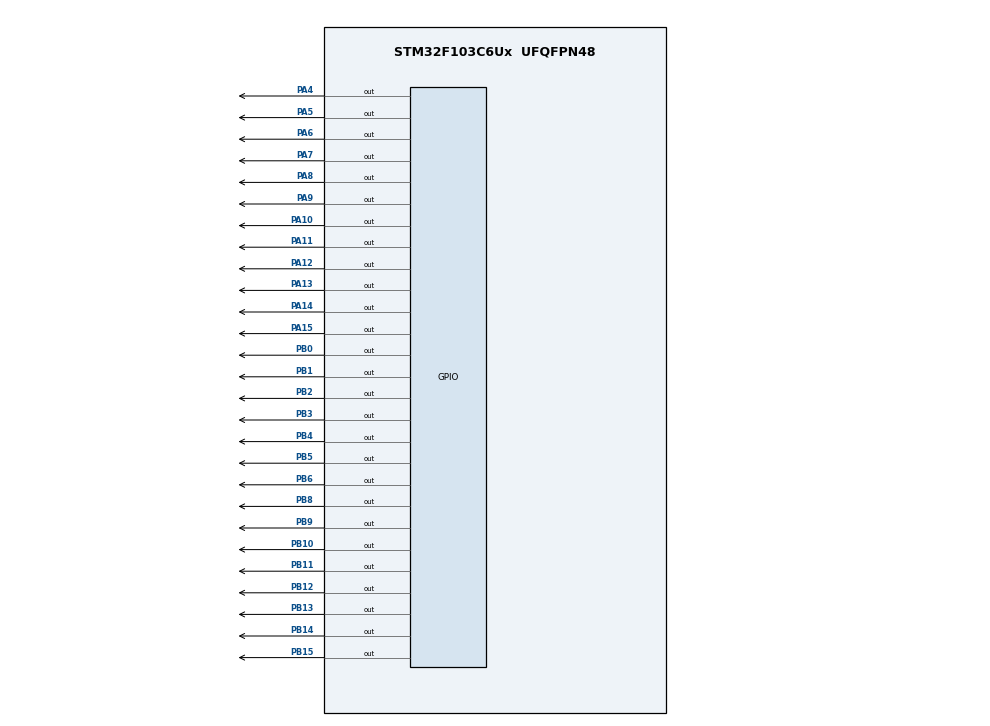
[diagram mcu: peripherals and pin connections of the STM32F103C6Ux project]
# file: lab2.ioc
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Mcu.Family=STM32F1
Mcu.Name=STM32F103C6Ux
Mcu.Package=UFQFPN48
NVIC.PriorityGroup=NVIC_PRIORITYGROUP_4
NVIC.TIM2_IRQn=true\:0\:0\:false\:false\:true\:true\:true
PA10.Signal=GPIO_Output
PA11.Signal=GPIO_Output
PA12.Signal=GPIO_Output
PA13.Signal=GPIO_Output
PA14.Signal=GPIO_Output
PA15.Signal=GPIO_Output
PA4.Signal=GPIO_Output
PA5.Signal=GPIO_Output
PA6.Signal=GPIO_Output
PA7.Signal=GPIO_Output
PA8.Signal=GPIO_Output
PA9.Signal=GPIO_Output
PB0.Signal=GPIO_Output
PB1.Signal=GPIO_Output
PB10.Signal=GPIO_Output
PB11.Signal=GPIO_Output
PB12.Signal=GPIO_Output
PB13.Signal=GPIO_Output
PB14.Signal=GPIO_Output
PB15.Signal=GPIO_Output
PB2.Signal=GPIO_Output
PB3.Signal=GPIO_Output
PB4.Signal=GPIO_Output
PB5.Signal=GPIO_Output
PB6.Signal=GPIO_Output
PB8.Signal=GPIO_Output
PB9.Signal=GPIO_Output
ProjectManager.HeapSize=0x200
ProjectManager.StackSize=0x400
ProjectManager.TargetToolchain=STM32CubeIDE
RCC.APB1Freq_Value=8000000
RCC.APB2Freq_Value=8000000
TIM2.Period=2
TIM2.Prescaler=7999
VP_SYS_VS_ND.Mode=No_Debug
VP_TIM2_VS_ClockSourceINT.Mode=Internal
board=custom

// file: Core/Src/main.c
/* USER CODE BEGIN Header */
/**
  ******************************************************************************
  * @file           : main.c
  * @brief          : Main program body
  ******************************************************************************
  * @attention
  *
  * <h2><center>&copy; Copyright (c) 2022 STMicroelectronics.
  * All rights reserved.</center></h2>
  *
  * This software component is licensed by ST under BSD 3-Clause license,
  * the "License"; You may not use this file except in compliance with the
  * License. You may obtain a copy of the License at:
  *                        opensource.org/licenses/BSD-3-Clause
  *
  ******************************************************************************
  */
/* USER CODE END Header */
#include "main.h"

/* USER CODE BEGIN Includes */
#include "software_timer.h"

/* USER CODE END Includes */

TIM_HandleTypeDef htim2;

void SystemClock_Config(void);
static void MX_GPIO_Init(void);
static void MX_TIM2_Init(void);

/* USER CODE BEGIN 0 */
void updateLEDMatrix(int index);
int tmp = 0;

/* USER CODE END 0 */

int main(void)
{

  /* MCU Configuration--------------------------------------------------------*/

  /* Reset of all peripherals, Initializes the Flash interface and the Systick. */
  HAL_Init();

  /* Configure the system clock */
  SystemClock_Config();

  /* Initialize all configured peripherals */
  MX_GPIO_Init();
  MX_TIM2_Init();
  /* USER CODE BEGIN 2 */
  HAL_TIM_Base_Start_IT(&htim2);
  /* USER CODE END 2 */

  /* Infinite loop */
  /* USER CODE BEGIN WHILE */
  setTimer0(2);
    int i = 0;
  while (1)
  {

	  if (timer0_flag == 1) {
		  if (i > 7){
			  i = 0;
//			  tmp++;
//			  if (tmp > 7) tmp = 0;
		  }
		  setTimer0(2);
		  updateLEDMatrix(i);
		  i++;
	  }
    /* USER CODE END WHILE */

  }
}

void SystemClock_Config(void)
{
  RCC_OscInitTypeDef RCC_OscInitStruct = {0};
  RCC_ClkInitTypeDef RCC_ClkInitStruct = {0};

  /** Initializes the RCC Oscillators according to the specified parameters
  * in the RCC_OscInitTypeDef structure.
  */
  RCC_OscInitStruct.OscillatorType = RCC_OSCILLATORTYPE_HSI;
  RCC_OscInitStruct.HSIState = RCC_HSI_ON;
  RCC_OscInitStruct.HSICalibrationValue = RCC_HSICALIBRATION_DEFAULT;
  RCC_OscInitStruct.PLL.PLLState = RCC_PLL_NONE;
  if (HAL_RCC_OscConfig(&RCC_OscInitStruct) != HAL_OK)
  {
    Error_Handler();
  }
  /** Initializes the CPU, AHB and APB buses clocks
  */
  RCC_ClkInitStruct.ClockType = RCC_CLOCKTYPE_HCLK|RCC_CLOCKTYPE_SYSCLK
                              |RCC_CLOCKTYPE_PCLK1|RCC_CLOCKTYPE_PCLK2;
  RCC_ClkInitStruct.SYSCLKSource = RCC_SYSCLKSOURCE_HSI;
  RCC_ClkInitStruct.AHBCLKDivider = RCC_SYSCLK_DIV1;
  RCC_ClkInitStruct.APB1CLKDivider = RCC_HCLK_DIV1;
  RCC_ClkInitStruct.APB2CLKDivider = RCC_HCLK_DIV1;

  if (HAL_RCC_ClockConfig(&RCC_ClkInitStruct, FLASH_LATENCY_0) != HAL_OK)
  {
    Error_Handler();
  }
}

static void MX_TIM2_Init(void)
{

  TIM_ClockConfigTypeDef sClockSourceConfig = {0};
  TIM_MasterConfigTypeDef sMasterConfig = {0};

  htim2.Instance = TIM2;
  htim2.Init.Prescaler = 799;
  htim2.Init.CounterMode = TIM_COUNTERMODE_UP;
  htim2.Init.Period = 9;
  htim2.Init.ClockDivision = TIM_CLOCKDIVISION_DIV1;
  htim2.Init.AutoReloadPreload = TIM_AUTORELOAD_PRELOAD_DISABLE;
  if (HAL_TIM_Base_Init(&htim2) != HAL_OK)
  {
    Error_Handler();
  }
  sClockSourceConfig.ClockSource = TIM_CLOCKSOURCE_INTERNAL;
  if (HAL_TIM_ConfigClockSource(&htim2, &sClockSourceConfig) != HAL_OK)
  {
    Error_Handler();
  }
  sMasterConfig.MasterOutputTrigger = TIM_TRGO_RESET;
  sMasterConfig.MasterSlaveMode = TIM_MASTERSLAVEMODE_DISABLE;
  if (HAL_TIMEx_MasterConfigSynchronization(&htim2, &sMasterConfig) != HAL_OK)
  {
    Error_Handler();
  }

}

static void MX_GPIO_Init(void)
{
  GPIO_InitTypeDef GPIO_InitStruct = {0};

  /* GPIO Ports Clock Enable */
  __HAL_RCC_GPIOA_CLK_ENABLE();
  __HAL_RCC_GPIOB_CLK_ENABLE();

  /*Configure GPIO pin Output Level */
  HAL_GPIO_WritePin(GPIOA, GPIO_PIN_4|GPIO_PIN_5|GPIO_PIN_6|GPIO_PIN_7
                          |GPIO_PIN_8|GPIO_PIN_9|GPIO_PIN_10|GPIO_PIN_11
                          |GPIO_PIN_12|GPIO_PIN_13|GPIO_PIN_14|GPIO_PIN_15, GPIO_PIN_RESET);

  /*Configure GPIO pin Output Level */
  HAL_GPIO_WritePin(GPIOB, GPIO_PIN_0|GPIO_PIN_1|GPIO_PIN_2|GPIO_PIN_10
                          |GPIO_PIN_11|GPIO_PIN_12|GPIO_PIN_13|GPIO_PIN_14
                          |GPIO_PIN_15|GPIO_PIN_3|GPIO_PIN_4|GPIO_PIN_5
                          |GPIO_PIN_6|GPIO_PIN_8|GPIO_PIN_9, GPIO_PIN_RESET);

  /*Configure GPIO pins : PA4 PA5 PA6 PA7
                           PA8 PA9 PA10 PA11
                           PA12 PA13 PA14 PA15 */
  GPIO_InitStruct.Pin = GPIO_PIN_4|GPIO_PIN_5|GPIO_PIN_6|GPIO_PIN_7
                          |GPIO_PIN_8|GPIO_PIN_9|GPIO_PIN_10|GPIO_PIN_11
                          |GPIO_PIN_12|GPIO_PIN_13|GPIO_PIN_14|GPIO_PIN_15;
  GPIO_InitStruct.Mode = GPIO_MODE_OUTPUT_PP;
  GPIO_InitStruct.Pull = GPIO_NOPULL;
  GPIO_InitStruct.Speed = GPIO_SPEED_FREQ_LOW;
  HAL_GPIO_Init(GPIOA, &GPIO_InitStruct);

  /*Configure GPIO pins : PB0 PB1 PB2 PB10
                           PB11 PB12 PB13 PB14
                           PB15 PB3 PB4 PB5
                           PB6 PB8 PB9 */
  GPIO_InitStruct.Pin = GPIO_PIN_0|GPIO_PIN_1|GPIO_PIN_2|GPIO_PIN_10
                          |GPIO_PIN_11|GPIO_PIN_12|GPIO_PIN_13|GPIO_PIN_14
                          |GPIO_PIN_15|GPIO_PIN_3|GPIO_PIN_4|GPIO_PIN_5
                          |GPIO_PIN_6|GPIO_PIN_8|GPIO_PIN_9;
  GPIO_InitStruct.Mode = GPIO_MODE_OUTPUT_PP;
  GPIO_InitStruct.Pull = GPIO_NOPULL;
  GPIO_InitStruct.Speed = GPIO_SPEED_FREQ_LOW;
  HAL_GPIO_Init(GPIOB, &GPIO_InitStruct);

}

/* USER CODE BEGIN 4 */
const int MAX_LED_MATRIX = 8;
int index_led_matrix = 0;
uint16_t matrix_buffer[8] = {0x0700, 0xEB00, 0xED00, 0xEE00, 0xEE00, 0xED00, 0xEB00, 0x0700};

void updateLEDMatrix(int index){
    switch (index){
        case 0:
        	GPIOA->ODR = ~(0x0100);
		    GPIOB->ODR = matrix_buffer[0];
            break;
        case 1:
        	GPIOA->ODR = ~(0x0200);
			GPIOB->ODR = matrix_buffer[1];
            break;
        case 2:
        	GPIOA->ODR = ~(0x0400);
			GPIOB->ODR = matrix_buffer[2];
            break;
        case 3:
        	GPIOA->ODR = ~(0x0800);
			GPIOB->ODR = matrix_buffer[3];
            break;
        case 4:
        	GPIOA->ODR = ~(0x1000);
			GPIOB->ODR = matrix_buffer[4];
            break;
        case 5:
        	GPIOA->ODR = ~(0x2000);
			GPIOB->ODR = matrix_buffer[5];
            break;
        case 6:
        	GPIOA->ODR = ~(0x4000);
			GPIOB->ODR = matrix_buffer[6];
            break;
        case 7:
        	GPIOA->ODR = ~(0x8000);
			GPIOB->ODR = matrix_buffer[7];
            break;
        default:
            break;
    }

}
//void updateLEDMatrix(int index){
//    switch (index){
//        case 0:
//        	GPIOA->ODR = ~(0x0100);
//		    GPIOB->ODR = matrix_buffer[(0+tmp)%8];
//            break;
//        case 1:
//        	GPIOA->ODR = ~(0x0200);
//			GPIOB->ODR = matrix_buffer[(1+tmp)%8];
//            break;
//        case 2:
//        	GPIOA->ODR = ~(0x0400);
//			GPIOB->ODR = matrix_buffer[(2+tmp)%8];
//            break;
//        case 3:
//        	GPIOA->ODR = ~(0x0800);
//			GPIOB->ODR = matrix_buffer[(3+tmp)%8];
//            break;
//        case 4:
//        	GPIOA->ODR = ~(0x1000);
//			GPIOB->ODR = matrix_buffer[(4+tmp)%8];
//            break;
//        case 5:
//        	GPIOA->ODR = ~(0x2000);
//			GPIOB->ODR = matrix_buffer[(5+tmp)%8];
//            break;
//        case 6:
//        	GPIOA->ODR = ~(0x4000);
//			GPIOB->ODR = matrix_buffer[(6+tmp)%8];
//            break;
//        case 7:
//        	GPIOA->ODR = ~(0x8000);
//			GPIOB->ODR = matrix_buffer[(7+tmp)%8];
//            break;
//        default:
//            break;
//    }
//
//}
void HAL_TIM_PeriodElapsedCallback(TIM_HandleTypeDef *htim){
	timerRun();
}
/* USER CODE END 4 */

void Error_Handler(void)
{
  __disable_irq();
  while (1)
  {
  }
}

/************************ (C) COPYRIGHT STMicroelectronics *****END OF FILE****/
